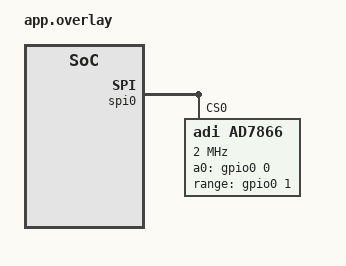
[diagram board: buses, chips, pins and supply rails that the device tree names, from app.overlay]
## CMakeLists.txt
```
# Copyright (c) 2026 Analog Devices, Inc.
# SPDX-License-Identifier: Apache-2.0

cmake_minimum_required(VERSION 3.20.0)

find_package(Zephyr REQUIRED HINTS $ENV{ZEPHYR_BASE})
project(ad7866)

target_sources(app PRIVATE src/main.c)
```

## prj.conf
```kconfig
CONFIG_ZTEST=y
CONFIG_ADC=y
CONFIG_SPI=y
CONFIG_GPIO=y
CONFIG_EMUL=y
CONFIG_SPI_EMUL=y
CONFIG_GPIO_EMUL=y
```

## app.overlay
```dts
/*
 * Copyright (c) 2026 Analog Devices, Inc.
 * SPDX-License-Identifier: Apache-2.0
 */

&spi0 {
	ad7866: ad7866@0 {
		compatible = "adi,ad7866";
		reg = <0>;
		spi-max-frequency = <2000000>;
		a0-gpios = <&gpio0 0 GPIO_ACTIVE_HIGH>;
		range-gpios = <&gpio0 1 GPIO_ACTIVE_HIGH>;
		avdd-mv = <5000>;
		#io-channel-cells = <1>;
	};
};
```

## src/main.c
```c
/*
 * Copyright (c) 2026 Analog Devices, Inc.
 * SPDX-License-Identifier: Apache-2.0
 */

#define DT_DRV_COMPAT adi_ad7866

#include <zephyr/devicetree.h>
#include <zephyr/drivers/adc.h>
#include <zephyr/drivers/emul.h>
#include <zephyr/drivers/gpio.h>
#include <zephyr/drivers/gpio/gpio_emul.h>
#include <zephyr/drivers/spi.h>
#include <zephyr/drivers/spi_emul.h>
#include <zephyr/sys/byteorder.h>
#include <zephyr/ztest.h>

#define AD7866_NODE    DT_NODELABEL(ad7866)
#define A0_GPIO_DEV    DEVICE_DT_GET(DT_GPIO_CTLR(AD7866_NODE, a0_gpios))
#define A0_GPIO_PIN    DT_GPIO_PIN(AD7866_NODE, a0_gpios)
#define RANGE_GPIO_DEV DEVICE_DT_GET(DT_GPIO_CTLR(AD7866_NODE, range_gpios))
#define RANGE_GPIO_PIN DT_GPIO_PIN(AD7866_NODE, range_gpios)

#define VREF_MV 2500

/* Model of the AD7866: two ADCs with a 2-channel mux each. */
static struct {
	int vin_mv[4];
	bool wired_b;     /* MISO on DOUTB instead of DOUTA */
	bool bad_zero;    /* leading zero is not 0, as for a missing device */
	int pair_latched; /* pins sampled on the previous CS falling edge */
	int range_latched;
	int frames;
	bool spi_config_ok;
} model;

static void model_reset(void)
{
	memset(&model, 0, sizeof(model));
	model.vin_mv[0] = 500;
	model.vin_mv[1] = 1000;
	model.vin_mv[2] = 1500;
	model.vin_mv[3] = 2000;
	model.spi_config_ok = true;
	model.pair_latched = gpio_emul_output_get(A0_GPIO_DEV, A0_GPIO_PIN);
	model.range_latched = gpio_emul_output_get(RANGE_GPIO_DEV, RANGE_GPIO_PIN);
}

static uint16_t model_code(int mv, bool twos)
{
	int code;

	if (twos) {
		code = (mv - VREF_MV) * 4096 / (2 * VREF_MV);
		code = CLAMP(code, -2048, 2047);
		return code & 0xFFF;
	}

	code = mv * 4096 / VREF_MV;

	return CLAMP(code, 0, 4095);
}

static int ad7866_emul_io(const struct emul *target, const struct spi_config *config,
			  const struct spi_buf_set *tx_bufs, const struct spi_buf_set *rx_bufs)
{
	uint8_t *rx;

	ARG_UNUSED(target);
	ARG_UNUSED(tx_bufs);

	if (rx_bufs == NULL || rx_bufs->count != 1 || rx_bufs->buffers[0].len != 4) {
		return -EINVAL;
	}

	/* Mode 2 (CPOL = 1, CPHA = 0), 8 bit words, MSB first. */
	if ((config->operation & SPI_MODE_CPOL) == 0 || (config->operation & SPI_MODE_CPHA) != 0 ||
	    SPI_WORD_SIZE_GET(config->operation) != 8 ||
	    (config->operation & SPI_TRANSFER_LSB) != 0 || config->frequency < 10000 ||
	    config->frequency > 20000000) {
		model.spi_config_ok = false;
	}

	rx = rx_bufs->buffers[0].buf;

	for (int i = 0; i < 2; i++) {
		int adc = (model.wired_b ? 1 : 0) ^ i;
		uint16_t word =
			(model.bad_zero ? BIT(15) : 0) | (model.range_latched << 14) |
			(model.pair_latched << 13) | (adc << 12) |
			model_code(model.vin_mv[adc * 2 + model.pair_latched], model.range_latched);

		sys_put_be16(word, &rx[2 * i]);
	}

	/* The pins are sampled on the CS falling edge, for the next conversion. */
	model.pair_latched = gpio_emul_output_get(A0_GPIO_DEV, A0_GPIO_PIN);
	model.range_latched = gpio_emul_output_get(RANGE_GPIO_DEV, RANGE_GPIO_PIN);
	model.frames++;

	return 0;
}

static struct spi_emul_api ad7866_emul_api = {
	.io = ad7866_emul_io,
};

static int ad7866_emul_init(const struct emul *target, const struct device *parent)
{
	ARG_UNUSED(target);
	ARG_UNUSED(parent);

	return 0;
}

EMUL_DT_INST_DEFINE(0, ad7866_emul_init, NULL, NULL, &ad7866_emul_api, NULL);

static const struct device *const adc = DEVICE_DT_GET(AD7866_NODE);

static struct adc_channel_cfg channel_cfg(uint8_t id, enum adc_gain gain)
{
	return (struct adc_channel_cfg){
		.gain = gain,
		.reference = ADC_REF_INTERNAL,
		.acquisition_time = ADC_ACQ_TIME_DEFAULT,
		.channel_id = id,
	};
}

static void setup_all(enum adc_gain gain)
{
	for (uint8_t ch = 0; ch < 4; ch++) {
		struct adc_channel_cfg cfg = channel_cfg(ch, gain);

		zassert_ok(adc_channel_setup(adc, &cfg), "channel %u setup", ch);
	}
}

static int do_read(uint32_t channels, uint16_t *buf, size_t size, uint8_t extra)
{
	struct adc_sequence_options options = {
		.extra_samplings = extra,
	};
	struct adc_sequence sequence = {
		.options = extra != 0 ? &options : NULL,
		.channels = channels,
		.buffer = buf,
		.buffer_size = size,
		.resolution = 12,
	};

	return adc_read(adc, &sequence);
}

static uint16_t expected_binary(int ch)
{
	return model_code(model.vin_mv[ch], false);
}

static uint16_t expected_offset_binary(int ch)
{
	int code = (model.vin_mv[ch] - VREF_MV) * 4096 / (2 * VREF_MV);

	return code + 2048;
}

static void before(void *fixture)
{
	ARG_UNUSED(fixture);

	zassert_true(device_is_ready(adc), "AD7866 is not ready");

	/* Go back to the 0 V to VREF range and the first pair. */
	setup_all(ADC_GAIN_1);
	model_reset();
}

ZTEST(ad7866, test_channel_setup_validation)
{
	struct adc_channel_cfg cfg;

	cfg = channel_cfg(4, ADC_GAIN_1);
	zassert_equal(adc_channel_setup(adc, &cfg), -EINVAL, "channel 4");

	cfg = channel_cfg(0, ADC_GAIN_1);
	cfg.reference = ADC_REF_VDD_1;
	zassert_equal(adc_channel_setup(adc, &cfg), -EINVAL, "reference");

	cfg = channel_cfg(0, ADC_GAIN_1);
	cfg.reference = ADC_REF_EXTERNAL0;
	zassert_ok(adc_channel_setup(adc, &cfg), "external reference");

	cfg = channel_cfg(0, ADC_GAIN_1);
	cfg.acquisition_time = ADC_ACQ_TIME(ADC_ACQ_TIME_MICROSECONDS, 10);
	zassert_equal(adc_channel_setup(adc, &cfg), -EINVAL, "acquisition time");

	cfg = channel_cfg(0, ADC_GAIN_1);
	cfg.differential = 1;
	zassert_equal(adc_channel_setup(adc, &cfg), -EINVAL, "differential");

	cfg = channel_cfg(0, ADC_GAIN_2);
	zassert_equal(adc_channel_setup(adc, &cfg), -EINVAL, "gain 2");

	cfg = channel_cfg(0, ADC_GAIN_1_2);
	zassert_ok(adc_channel_setup(adc, &cfg), "gain 1/2");
}

ZTEST(ad7866, test_spi_configuration)
{
	uint16_t buf[1];

	zassert_ok(do_read(BIT(0), buf, sizeof(buf), 0));
	zassert_true(model.spi_config_ok, "SPI mode, word size or frequency");
}

ZTEST(ad7866, test_single_channels)
{
	uint16_t buf[1];

	for (int ch = 0; ch < 4; ch++) {
		zassert_ok(do_read(BIT(ch), buf, sizeof(buf), 0), "channel %d", ch);
		zassert_equal(buf[0], expected_binary(ch), "channel %d: %u", ch, buf[0]);
	}
}

ZTEST(ad7866, test_all_channels_with_extra_samplings)
{
	uint16_t buf[3 * 4];

	zassert_ok(do_read(0xF, buf, sizeof(buf), 2));

	for (int sample = 0; sample < 3; sample++) {
		for (int ch = 0; ch < 4; ch++) {
			zassert_equal(buf[sample * 4 + ch], expected_binary(ch),
				      "sample %d channel %d", sample, ch);
		}
	}
}

ZTEST(ad7866, test_channel_subsets_in_ascending_order)
{
	uint16_t buf[2];

	zassert_ok(do_read(BIT(3) | BIT(0), buf, sizeof(buf), 0));
	zassert_equal(buf[0], expected_binary(0));
	zassert_equal(buf[1], expected_binary(3));

	zassert_ok(do_read(BIT(2) | BIT(1), buf, sizeof(buf), 0));
	zassert_equal(buf[0], expected_binary(1));
	zassert_equal(buf[1], expected_binary(2));
}

ZTEST(ad7866, test_both_dout_wirings)
{
	uint16_t buf[4];

	model.wired_b = true;
	zassert_ok(do_read(0xF, buf, sizeof(buf), 0));

	for (int ch = 0; ch < 4; ch++) {
		zassert_equal(buf[ch], expected_binary(ch), "channel %d", ch);
	}
}

ZTEST(ad7866, test_gain_half_range)
{
	uint16_t buf[4];
	int32_t mv;

	setup_all(ADC_GAIN_1_2);
	model.vin_mv[1] = 4000;
	model.vin_mv[3] = 100;

	zassert_ok(do_read(0xF, buf, sizeof(buf), 0));

	for (int ch = 0; ch < 4; ch++) {
		zassert_equal(buf[ch], expected_offset_binary(ch), "channel %d: %u", ch, buf[ch]);

		mv = buf[ch];
		zassert_ok(adc_raw_to_millivolts(VREF_MV, ADC_GAIN_1_2, 12, &mv));
		zassert_within(mv, model.vin_mv[ch], 2, "channel %d: %d mV", ch, mv);
	}

	/* and back to the 0 V to VREF range */
	setup_all(ADC_GAIN_1);
	zassert_ok(do_read(0xF, buf, sizeof(buf), 0));

	for (int ch = 0; ch < 4; ch++) {
		zassert_equal(buf[ch], model_code(model.vin_mv[ch], false), "channel %d", ch);
	}
}

ZTEST(ad7866, test_mixed_gains_in_one_sequence)
{
	struct adc_channel_cfg cfg = channel_cfg(1, ADC_GAIN_1_2);
	uint16_t buf[2];

	zassert_ok(adc_channel_setup(adc, &cfg));

	zassert_equal(do_read(BIT(0) | BIT(1), buf, sizeof(buf), 0), -EINVAL);
	zassert_ok(do_read(BIT(0), buf, sizeof(buf), 0));
	zassert_ok(do_read(BIT(1), buf, sizeof(buf), 0));
	zassert_equal(buf[0], expected_offset_binary(1));
}

ZTEST(ad7866, test_sequence_validation)
{
	struct adc_sequence_options options = {.extra_samplings = 0};
	uint16_t buf[4];
	struct adc_sequence sequence = {
		.channels = BIT(0),
		.buffer = buf,
		.buffer_size = sizeof(buf),
		.resolution = 12,
	};

	sequence.resolution = 10;
	zassert_equal(adc_read(adc, &sequence), -EINVAL, "resolution");

	sequence.resolution = 12;
	sequence.oversampling = 1;
	zassert_equal(adc_read(adc, &sequence), -EINVAL, "oversampling");

	sequence.oversampling = 0;
	sequence.channels = 0;
	zassert_equal(adc_read(adc, &sequence), -EINVAL, "no channel");

	sequence.channels = BIT(4);
	zassert_equal(adc_read(adc, &sequence), -EINVAL, "channel 4");

	sequence.channels = 0xF;
	sequence.buffer_size = 3 * sizeof(uint16_t);
	zassert_equal(adc_read(adc, &sequence), -ENOMEM, "buffer too small");

	sequence.buffer_size = sizeof(buf);
	sequence.options = &options;
	options.extra_samplings = 1;
	zassert_equal(adc_read(adc, &sequence), -ENOMEM, "extra samplings do not fit");
}

ZTEST(ad7866, test_conversions_per_scan)
{
	uint16_t buf[4];
	int frames;

	/* one pair: one conversion per scan, in steady state */
	zassert_ok(do_read(BIT(0) | BIT(2), buf, sizeof(buf), 0));
	frames = model.frames;
	zassert_ok(do_read(BIT(0) | BIT(2), buf, sizeof(buf), 0));
	zassert_equal(model.frames - frames, 1, "single pair");

	/* two pairs: one conversion per pair, none wasted */
	zassert_ok(do_read(0xF, buf, sizeof(buf), 0));
	frames = model.frames;
	zassert_ok(do_read(0xF, buf, sizeof(buf), 0));
	zassert_equal(model.frames - frames, 2, "both pairs");
}

ZTEST(ad7866, test_missing_device_is_reported)
{
	uint16_t buf[1];

	model.bad_zero = true;
	zassert_equal(do_read(BIT(0), buf, sizeof(buf), 0), -EIO);

	/* it recovers once the device answers again */
	model.bad_zero = false;
	zassert_ok(do_read(BIT(0), buf, sizeof(buf), 0));
	zassert_equal(buf[0], expected_binary(0), "got %u expected %u", buf[0], expected_binary(0));
}

ZTEST_SUITE(ad7866, NULL, NULL, before, NULL, NULL);
```
